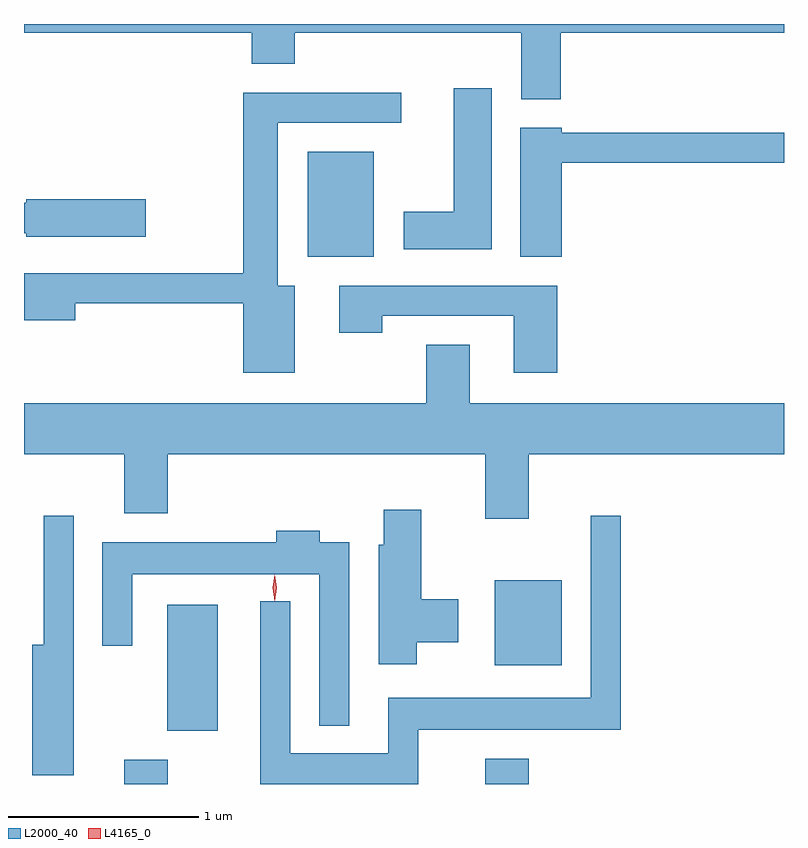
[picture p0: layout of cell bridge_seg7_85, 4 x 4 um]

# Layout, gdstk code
import gdstk
lib = gdstk.Library(unit=1e-6, precision=1e-09)
def R(c, l, rs):  # rectangles x0, y0, x1, y1
    for r in rs: c.add(gdstk.rectangle(r[:2], r[2:], *l))
def P(c, l, *ps):  # polygons
    for p in ps: c.add(gdstk.Polygon(p, *l))
L2000_40 = (2000, 40)
L4165_0 = (4165, 0)

bridge_seg7_85 = lib.new_cell('bridge_seg7_85')
R(bridge_seg7_85, L2000_40, [(1629.551,1785.841,1629.779,1785.969), (1631.451,1785.841,1631.679,1785.974), (1629.776,1786.121,1630.044,1786.784), (1631.501,1786.466,1631.854,1786.914), (1630.516,1788.616,1630.864,1789.169)])
P(bridge_seg7_85, L2000_40, [(1631.849,1789.796),(1633.023,1789.796),(1633.023,1789.841),(1629.023,1789.841),(1629.023,1789.796),(1630.221,1789.796),(1630.221,1789.631),(1630.449,1789.631),(1630.449,1789.796),(1631.641,1789.796),(1631.641,1789.446),(1631.849,1789.446)],
  [(1631.484,1789.504),(1631.286,1789.504),(1631.286,1788.854),(1631.021,1788.854),(1631.021,1788.656),(1631.484,1788.656)],
  [(1630.449,1788.464),(1630.359,1788.464),(1630.359,1789.321),(1631.008,1789.321),(1631.008,1789.479),(1630.176,1789.479),(1630.176,1788.529),(1629.023,1788.529),(1629.023,1788.281),(1629.294,1788.281),(1629.294,1788.371),(1630.176,1788.371),(1630.176,1788.006),(1630.449,1788.006)],
  [(1631.854,1789.111),(1633.023,1789.111),(1633.023,1789.269),(1631.854,1789.269),(1631.854,1789.294),(1631.636,1789.294),(1631.636,1788.616),(1631.854,1788.616)],
  [(1629.664,1788.919),(1629.036,1788.919),(1629.036,1788.899),(1629.023,1788.899),(1629.023,1788.741),(1629.036,1788.741),(1629.036,1788.721),(1629.664,1788.721)],
  [(1631.829,1788.464),(1630.681,1788.464),(1630.681,1788.216),(1630.909,1788.216),(1630.909,1788.306),(1631.601,1788.306),(1631.601,1788.006),(1631.829,1788.006)],
  [(1629.023,1787.576),(1629.551,1787.576),(1629.551,1787.266),(1629.779,1787.266),(1629.779,1787.576),(1631.451,1787.576),(1631.451,1787.236),(1631.679,1787.236),(1631.679,1787.576),(1633.023,1787.576),(1633.023,1787.844),(1631.369,1787.844),(1631.369,1788.154),(1631.141,1788.154),(1631.141,1787.844),(1629.023,1787.844)],
  [(1631.089,1786.586),(1631.309,1786.586),(1631.309,1786.814),(1631.114,1786.814),(1631.114,1787.284),(1630.916,1787.284),(1630.916,1787.099),(1630.891,1787.099),(1630.891,1786.471),(1631.089,1786.471)],
  [(1629.284,1787.253),(1629.126,1787.253),(1629.126,1786.574),(1629.066,1786.574),(1629.066,1785.886),(1629.284,1785.886)],
  [(1631.099,1786.126),(1632.164,1786.126),(1632.164,1787.253),(1632.006,1787.253),(1632.006,1786.294),(1630.941,1786.294),(1630.941,1786.004),(1630.424,1786.004),(1630.424,1786.803),(1630.266,1786.803),(1630.266,1785.841),(1631.099,1785.841)],
  [(1630.734,1787.114),(1630.579,1787.114),(1630.579,1787.174),(1630.351,1787.174),(1630.351,1787.114),(1629.436,1787.114),(1629.436,1786.568),(1629.594,1786.568),(1629.594,1786.946),(1630.576,1786.946),(1630.576,1786.148),(1630.734,1786.148)])
P(bridge_seg7_85, L4165_0, [(1630.343,1786.803),(1630.342,1786.804),(1630.333,1786.873),(1630.342,1786.942),(1630.343,1786.943),(1630.343,1786.942),(1630.353,1786.873),(1630.343,1786.804)])

lib.write_gds('bridge_seg7_85.gds')
